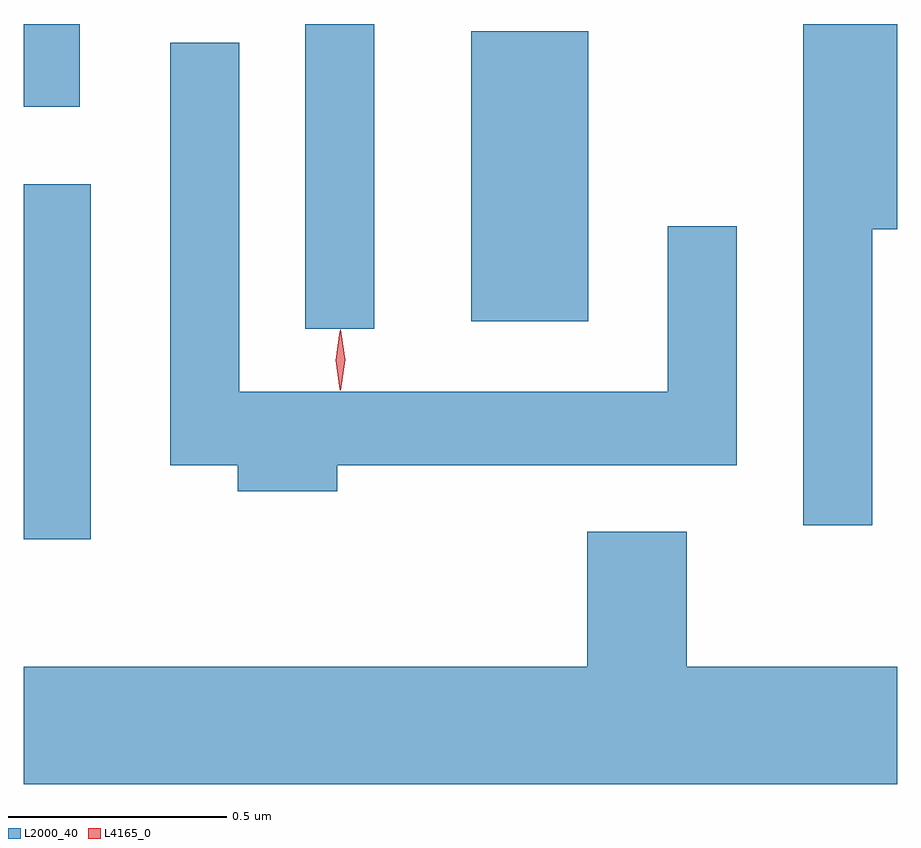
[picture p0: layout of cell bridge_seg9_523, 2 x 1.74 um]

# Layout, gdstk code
import gdstk
lib = gdstk.Library(unit=1e-6, precision=1e-09)
def R(c, l, rs):  # rectangles x0, y0, x1, y1
    for r in rs: c.add(gdstk.rectangle(r[:2], r[2:], *l))
def P(c, l, *ps):  # polygons
    for p in ps: c.add(gdstk.Polygon(p, *l))
L2000_40 = (2000, 40)
L4165_0 = (4165, 0)

bridge_seg9_523 = lib.new_cell('bridge_seg9_523')
R(bridge_seg9_523, L2000_40, [(552.411,1970.176,552.564,1970.989), (553.056,1970.658,553.214,1971.356), (553.436,1970.676,553.704,1971.339), (552.411,1971.166,552.539,1971.356)])
P(bridge_seg9_523, L2000_40, [(554.354,1970.886),(554.411,1970.886),(554.411,1971.356),(554.196,1971.356),(554.196,1970.208),(554.354,1970.208)],
  [(553.129,1970.346),(554.044,1970.346),(554.044,1970.893),(553.886,1970.893),(553.886,1970.514),(552.904,1970.514),(552.904,1971.313),(552.746,1971.313),(552.746,1970.346),(552.901,1970.346),(552.901,1970.286),(553.129,1970.286)],
  [(554.411,1969.884),(553.929,1969.884),(553.929,1970.194),(553.701,1970.194),(553.701,1969.884),(552.411,1969.884),(552.411,1969.616),(554.411,1969.616)])
P(bridge_seg9_523, L4165_0, [(553.137,1970.517),(553.136,1970.518),(553.127,1970.587),(553.136,1970.656),(553.137,1970.656),(553.137,1970.656),(553.147,1970.587),(553.137,1970.518)],
  [(553.135,1970.519),(553.135,1970.52),(553.125,1970.586),(553.135,1970.652),(553.135,1970.653),(553.136,1970.652),(553.145,1970.586),(553.136,1970.52)])

lib.write_gds('bridge_seg9_523.gds')
